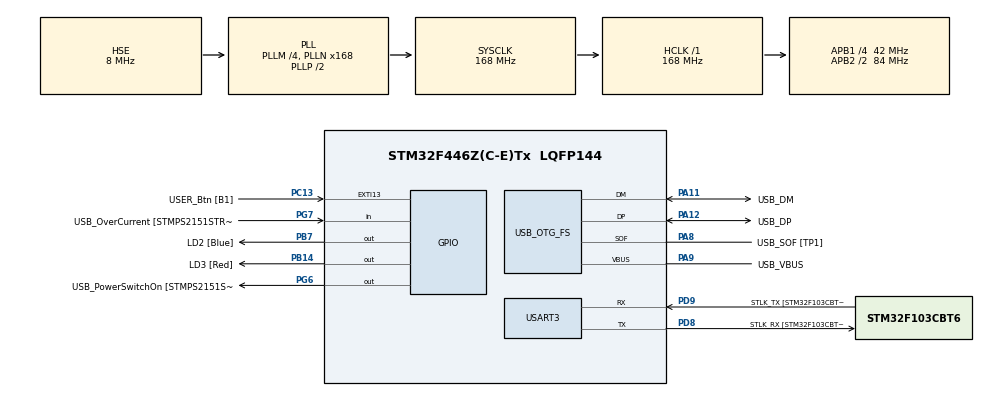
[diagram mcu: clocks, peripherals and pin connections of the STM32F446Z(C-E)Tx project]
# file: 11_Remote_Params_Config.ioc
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FREERTOS.Tasks01=defaultTask,0,128,StartDefaultTask,Default,NULL
Mcu.Family=STM32F4
Mcu.Name=STM32F446Z(C-E)Tx
Mcu.Package=LQFP144
NVIC.PriorityGroup=NVIC_PRIORITYGROUP_4
NVIC.TIM1_UP_TIM10_IRQn=true\:0\:0\:false\:false\:true\:false\:false\:true
NVIC.TimeBase=TIM1_UP_TIM10_IRQn
NVIC.TimeBaseIP=TIM1
PA10.GPIO_Label=USB_ID
PA10.Signal=USB_OTG_FS_ID
PA11.GPIO_Label=USB_DM
PA11.Mode=Device_Only
PA11.Signal=USB_OTG_FS_DM
PA12.GPIO_Label=USB_DP
PA12.Mode=Device_Only
PA12.Signal=USB_OTG_FS_DP
PA13.GPIO_Label=TMS
PA13.Mode=Serial_Wire
PA13.Signal=SYS_JTMS-SWDIO
PA14.GPIO_Label=TCK
PA14.Mode=Serial_Wire
PA14.Signal=SYS_JTCK-SWCLK
PA8.GPIO_Label=USB_SOF [TP1]
PA8.Mode=Activate_SOF_FS
PA8.Signal=USB_OTG_FS_SOF
PA9.GPIO_Label=USB_VBUS
PA9.Mode=Activate_VBUS
PA9.Signal=USB_OTG_FS_VBUS
PB14.GPIO_Label=LD3 [Red]
PB14.Signal=GPIO_Output
PB7.GPIO_Label=LD2 [Blue]
PB7.Signal=GPIO_Output
PC13.GPIO_Label=USER_Btn [B1]
PC13.Signal=GPXTI13
PC14-OSC32_IN.Mode=LSE-External-Oscillator
PC14-OSC32_IN.Signal=RCC_OSC32_IN
PC15-OSC32_OUT.Mode=LSE-External-Oscillator
PC15-OSC32_OUT.Signal=RCC_OSC32_OUT
PD8.GPIO_Label=STLK_RX [STM32F103CBT6_PA3]
PD8.Mode=Asynchronous
PD8.Signal=USART3_TX
PD9.GPIO_Label=STLK_TX [STM32F103CBT6_PA2]
PD9.Mode=Asynchronous
PD9.Signal=USART3_RX
PG6.GPIO_Label=USB_PowerSwitchOn [STMPS2151STR_EN]
PG6.Signal=GPIO_Output
PG7.GPIO_Label=USB_OverCurrent [STMPS2151STR_FAULT]
PG7.Signal=GPIO_Input
PH0-OSC_IN.GPIO_Label=MCO [STM32F103CBT6_PA8]
PH0-OSC_IN.Mode=HSE-External-Clock-Source
PH0-OSC_IN.Signal=RCC_OSC_IN
PH1-OSC_OUT.Mode=HSE-External-Clock-Source
PH1-OSC_OUT.Signal=RCC_OSC_OUT
ProjectManager.HeapSize=0x200
ProjectManager.StackSize=0x400
ProjectManager.TargetToolchain=STM32CubeIDE
RCC.48MHZClocksFreq_Value=24000000
RCC.AHBFreq_Value=168000000
RCC.APB1CLKDivider=RCC_HCLK_DIV4
RCC.APB1Freq_Value=42000000
RCC.APB1TimFreq_Value=84000000
RCC.APB2CLKDivider=RCC_HCLK_DIV2
RCC.APB2Freq_Value=84000000
RCC.APB2TimFreq_Value=168000000
RCC.CortexFreq_Value=168000000
RCC.HCLKFreq_Value=168000000
RCC.HSE_VALUE=8000000
RCC.HSI_VALUE=16000000
RCC.PLLM=4
RCC.PLLMUL=RCC_PLL_MUL9
RCC.PLLN=168
RCC.PLLQ=7
RCC.PRESCALERUSB=RCC_USBCLKSOURCE_PLL_DIV1_5
RCC.SYSCLKFreq_VALUE=168000000
RCC.SYSCLKSource=RCC_SYSCLKSOURCE_PLLCLK
RCC.SYSCLKSourceVirtual=RCC_SYSCLKSOURCE_PLLCLK
RCC.USBFreq_Value=48000000
RCC.VCOOutputFreq_Value=336000000
USART3.VirtualMode=VM_ASYNC
USB_OTG_FS.VirtualMode=Device_Only
VP_FREERTOS_VS_CMSIS_V1.Mode=CMSIS_V1
VP_SYS_VS_tim1.Mode=TIM1
board=NUCLEO-F446ZE

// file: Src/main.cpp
/* USER CODE BEGIN Header */
/**
  ******************************************************************************
  * @file           : main.c
  * @brief          : Main program body
  ******************************************************************************
  * @attention
  *
  * <h2><center>&copy; Copyright (c) 2019 STMicroelectronics.
  * All rights reserved.</center></h2>
  *
  * This software component is licensed by ST under BSD 3-Clause license,
  * the "License"; You may not use this file except in compliance with the
  * License. You may obtain a copy of the License at:
  *                        opensource.org/licenses/BSD-3-Clause
  *
  ******************************************************************************
  */
/* USER CODE END Header */

#include "main.h"
#include "cmsis_os.h"

/* USER CODE BEGIN Includes */
#include <uavcan_stm32/uavcan_stm32.hpp>
#include <uavcan/uavcan.hpp>

#include <uavcan/protocol/param_server.hpp>
/* USER CODE END Includes */

/* USER CODE BEGIN PD */
#define CAN_THRAD_STACK_SIZE 512

#define DEBUG_BUFFER_SIZE    (256)
#define DEBUG_TIMEOUT        (1000)
/* USER CODE END PD */

UART_HandleTypeDef huart3;

PCD_HandleTypeDef hpcd_USB_OTG_FS;

osThreadId defaultTaskHandle;
/* USER CODE BEGIN PV */
uint32_t defaultTaskBuffer[ CAN_THRAD_STACK_SIZE ];
osStaticThreadDef_t defaultTaskControlBlock;

osSemaphoreId DEBUG_TX_completeID;
osSemaphoreDef(DEBUG_TX_complete);
uint8_t DEBUG_TX_Buffer[DEBUG_BUFFER_SIZE] = {0};  //!< Debug buffer.
/* USER CODE END PV */

void SystemClock_Config(void);
static void MX_GPIO_Init(void);
static void MX_USART3_UART_Init(void);
static void MX_USB_OTG_FS_PCD_Init(void);

/* USER CODE BEGIN PFP */
extern "C" {
	void StartDefaultTask(void const * argument);
}

bool DEBUG_Init(void);
void DEBUG_Printf(const char *fmt, ...);
/* USER CODE END PFP */

/* USER CODE BEGIN 0 */
constexpr unsigned NodePoolSize = 8192;
uavcan_stm32::CanInitHelper<> can;

uavcan::Node<NodePoolSize>& getNode() {
    static uavcan::Node<NodePoolSize> node(can.driver, uavcan_stm32::SystemClock::instance());
    return node;
}
/* USER CODE END 0 */

int main(void)
{

  /* MCU Configuration--------------------------------------------------------*/

  /* Reset of all peripherals, Initializes the Flash interface and the Systick. */
  HAL_Init();

  /* Configure the system clock */
  SystemClock_Config();

  /* Initialize all configured peripherals */
  MX_GPIO_Init();
  MX_USART3_UART_Init();
  MX_USB_OTG_FS_PCD_Init();
  /* USER CODE BEGIN 2 */
  GPIO_InitTypeDef GPIO_InitStruct = {0};

  __HAL_RCC_CAN1_CLK_ENABLE();

  __HAL_RCC_GPIOD_CLK_ENABLE();
  /**CAN1 GPIO Configuration
  PD0     ------> CAN1_RX
  PD1     ------> CAN1_TX
  */
  GPIO_InitStruct.Pin = GPIO_PIN_0|GPIO_PIN_1;
  GPIO_InitStruct.Mode = GPIO_MODE_AF_PP;
  GPIO_InitStruct.Pull = GPIO_NOPULL;
  GPIO_InitStruct.Speed = GPIO_SPEED_FREQ_VERY_HIGH;
  GPIO_InitStruct.Alternate = GPIO_AF9_CAN1;
  HAL_GPIO_Init(GPIOD, &GPIO_InitStruct);

  DEBUG_Init();
  /* USER CODE END 2 */

  /* Create the thread(s) */
  /* definition and creation of defaultTask */
  osThreadStaticDef(defaultTask, StartDefaultTask, osPriorityNormal, 0, CAN_THRAD_STACK_SIZE, defaultTaskBuffer, &defaultTaskControlBlock);
  defaultTaskHandle = osThreadCreate(osThread(defaultTask), NULL);

  /* Start scheduler */
  osKernelStart();

  /* We should never get here as control is now taken by the scheduler */

  /* Infinite loop */
  while (1)
  {

  }
}

void SystemClock_Config(void)
{
  RCC_OscInitTypeDef RCC_OscInitStruct = {0};
  RCC_ClkInitTypeDef RCC_ClkInitStruct = {0};
  RCC_PeriphCLKInitTypeDef PeriphClkInitStruct = {0};

  /** Configure the main internal regulator output voltage
  */
  __HAL_RCC_PWR_CLK_ENABLE();
  __HAL_PWR_VOLTAGESCALING_CONFIG(PWR_REGULATOR_VOLTAGE_SCALE1);
  /** Initializes the CPU, AHB and APB busses clocks
  */
  RCC_OscInitStruct.OscillatorType = RCC_OSCILLATORTYPE_HSE;
  RCC_OscInitStruct.HSEState = RCC_HSE_BYPASS;
  RCC_OscInitStruct.PLL.PLLState = RCC_PLL_ON;
  RCC_OscInitStruct.PLL.PLLSource = RCC_PLLSOURCE_HSE;
  RCC_OscInitStruct.PLL.PLLM = 4;
  RCC_OscInitStruct.PLL.PLLN = 168;
  RCC_OscInitStruct.PLL.PLLP = RCC_PLLP_DIV2;
  RCC_OscInitStruct.PLL.PLLQ = 7;
  RCC_OscInitStruct.PLL.PLLR = 2;
  if (HAL_RCC_OscConfig(&RCC_OscInitStruct) != HAL_OK)
  {
    Error_Handler();
  }
  /** Initializes the CPU, AHB and APB busses clocks
  */
  RCC_ClkInitStruct.ClockType = RCC_CLOCKTYPE_HCLK|RCC_CLOCKTYPE_SYSCLK
                              |RCC_CLOCKTYPE_PCLK1|RCC_CLOCKTYPE_PCLK2;
  RCC_ClkInitStruct.SYSCLKSource = RCC_SYSCLKSOURCE_PLLCLK;
  RCC_ClkInitStruct.AHBCLKDivider = RCC_SYSCLK_DIV1;
  RCC_ClkInitStruct.APB1CLKDivider = RCC_HCLK_DIV4;
  RCC_ClkInitStruct.APB2CLKDivider = RCC_HCLK_DIV2;

  if (HAL_RCC_ClockConfig(&RCC_ClkInitStruct, FLASH_LATENCY_5) != HAL_OK)
  {
    Error_Handler();
  }
  PeriphClkInitStruct.PeriphClockSelection = RCC_PERIPHCLK_CLK48;
  PeriphClkInitStruct.Clk48ClockSelection = RCC_CLK48CLKSOURCE_PLLQ;
  if (HAL_RCCEx_PeriphCLKConfig(&PeriphClkInitStruct) != HAL_OK)
  {
    Error_Handler();
  }
}

static void MX_USART3_UART_Init(void)
{

  huart3.Instance = USART3;
  huart3.Init.BaudRate = 115200;
  huart3.Init.WordLength = UART_WORDLENGTH_8B;
  huart3.Init.StopBits = UART_STOPBITS_1;
  huart3.Init.Parity = UART_PARITY_NONE;
  huart3.Init.Mode = UART_MODE_TX_RX;
  huart3.Init.HwFlowCtl = UART_HWCONTROL_NONE;
  huart3.Init.OverSampling = UART_OVERSAMPLING_16;
  if (HAL_UART_Init(&huart3) != HAL_OK)
  {
    Error_Handler();
  }

}

static void MX_USB_OTG_FS_PCD_Init(void)
{

  hpcd_USB_OTG_FS.Instance = USB_OTG_FS;
  hpcd_USB_OTG_FS.Init.dev_endpoints = 6;
  hpcd_USB_OTG_FS.Init.speed = PCD_SPEED_FULL;
  hpcd_USB_OTG_FS.Init.dma_enable = DISABLE;
  hpcd_USB_OTG_FS.Init.phy_itface = PCD_PHY_EMBEDDED;
  hpcd_USB_OTG_FS.Init.Sof_enable = ENABLE;
  hpcd_USB_OTG_FS.Init.low_power_enable = DISABLE;
  hpcd_USB_OTG_FS.Init.lpm_enable = DISABLE;
  hpcd_USB_OTG_FS.Init.vbus_sensing_enable = ENABLE;
  hpcd_USB_OTG_FS.Init.use_dedicated_ep1 = DISABLE;
  if (HAL_PCD_Init(&hpcd_USB_OTG_FS) != HAL_OK)
  {
    Error_Handler();
  }

}

static void MX_GPIO_Init(void)
{
  GPIO_InitTypeDef GPIO_InitStruct = {0};

  /* GPIO Ports Clock Enable */
  __HAL_RCC_GPIOC_CLK_ENABLE();
  __HAL_RCC_GPIOH_CLK_ENABLE();
  __HAL_RCC_GPIOB_CLK_ENABLE();
  __HAL_RCC_GPIOD_CLK_ENABLE();
  __HAL_RCC_GPIOG_CLK_ENABLE();
  __HAL_RCC_GPIOA_CLK_ENABLE();

  /*Configure GPIO pin Output Level */
  HAL_GPIO_WritePin(GPIOB, LD3_Pin|LD2_Pin, GPIO_PIN_RESET);

  /*Configure GPIO pin Output Level */
  HAL_GPIO_WritePin(USB_PowerSwitchOn_GPIO_Port, USB_PowerSwitchOn_Pin, GPIO_PIN_RESET);

  /*Configure GPIO pin : USER_Btn_Pin */
  GPIO_InitStruct.Pin = USER_Btn_Pin;
  GPIO_InitStruct.Mode = GPIO_MODE_IT_RISING;
  GPIO_InitStruct.Pull = GPIO_NOPULL;
  HAL_GPIO_Init(USER_Btn_GPIO_Port, &GPIO_InitStruct);

  /*Configure GPIO pins : LD3_Pin LD2_Pin */
  GPIO_InitStruct.Pin = LD3_Pin|LD2_Pin;
  GPIO_InitStruct.Mode = GPIO_MODE_OUTPUT_PP;
  GPIO_InitStruct.Pull = GPIO_NOPULL;
  GPIO_InitStruct.Speed = GPIO_SPEED_FREQ_LOW;
  HAL_GPIO_Init(GPIOB, &GPIO_InitStruct);

  /*Configure GPIO pin : USB_PowerSwitchOn_Pin */
  GPIO_InitStruct.Pin = USB_PowerSwitchOn_Pin;
  GPIO_InitStruct.Mode = GPIO_MODE_OUTPUT_PP;
  GPIO_InitStruct.Pull = GPIO_NOPULL;
  GPIO_InitStruct.Speed = GPIO_SPEED_FREQ_LOW;
  HAL_GPIO_Init(USB_PowerSwitchOn_GPIO_Port, &GPIO_InitStruct);

  /*Configure GPIO pin : USB_OverCurrent_Pin */
  GPIO_InitStruct.Pin = USB_OverCurrent_Pin;
  GPIO_InitStruct.Mode = GPIO_MODE_INPUT;
  GPIO_InitStruct.Pull = GPIO_NOPULL;
  HAL_GPIO_Init(USB_OverCurrent_GPIO_Port, &GPIO_InitStruct);

}

/* USER CODE BEGIN 4 */
bool DEBUG_Init(void)
{
    if ((DEBUG_TX_completeID = osSemaphoreCreate(osSemaphore(DEBUG_TX_complete), 1)) == NULL)
    {
        return false;
    }
    return true;
}

void DEBUG_Printf(const char *fmt, ...)
{
    uint16_t i = 0;
    va_list args;
    if (osSemaphoreWait(DEBUG_TX_completeID, 1000) == osOK)
    {
        va_start(args, fmt);
        i = vsnprintf((char*) DEBUG_TX_Buffer, DEBUG_BUFFER_SIZE - 1, fmt, args);
        DEBUG_TX_Buffer[i] = 0x00;

        uint16_t retry = 4096;

        while ((retry--)&&(HAL_UART_Transmit(&huart3, &DEBUG_TX_Buffer[0], strlen((char*)&DEBUG_TX_Buffer[0]), 0xFFF) != HAL_OK));

        va_end(args);
        osSemaphoreRelease(DEBUG_TX_completeID);
    }
    return;
}
/* USER CODE END 4 */

void StartDefaultTask(void const * argument)
{

  /* USER CODE BEGIN 5 */
	uint32_t value = 1000000;

	can.init(value);

	getNode().setName("org.test.RemoteParamsConfig");
	getNode().setNodeID(5);

	if (getNode().start() < 0) {
		DEBUG_Printf("UAVCAN start fail\r\n");
	    while (1);
	}

    /*
     * This would be our configuration storage.
     */
    static struct Parametrai
    {
        unsigned param1 = 42;
        float param2 = 0.123456F;
        double param3 = 1e-5;
        std::string text = "Hello world!";
    } configuration;

    /*
     * Now, we need to define some glue logic between the server (below) and our configuration storage (above).
     * This is done via the interface uavcan::IParamManager.
     */
    class : public uavcan::IParamManager
    {
    	void getParamNameByIndex(Index index, Name& out_name) const override {
    		if (index == 0) { out_name = "param1"; }
            if (index == 1) { out_name = "param2"; }
            if (index == 2) { out_name = "param3"; }
            if (index == 3) { out_name = "text"; }
        }

    	void assignParamValue(const Name& name, const Value& value) override {
    		if (name == "param1") {
    			/*
    			 * Parameter "foo" is an integer, so we accept only integer values here.
    			 */
    			if (value.is(uavcan::protocol::param::Value::Tag::integer_value))
    				configuration.param1 = *value.as<uavcan::protocol::param::Value::Tag::integer_value>();
    		} else if (name == "param2") {
    			if (value.is(uavcan::protocol::param::Value::Tag::real_value))
    				configuration.param2 = *value.as<uavcan::protocol::param::Value::Tag::real_value>();
    		} else if (name == "param3") {
    			if (value.is(uavcan::protocol::param::Value::Tag::real_value))
    				configuration.param3 = *value.as<uavcan::protocol::param::Value::Tag::real_value>();
    		} else if (name == "text") {
    			if (value.is(uavcan::protocol::param::Value::Tag::string_value))
    				configuration.text = value.as<uavcan::protocol::param::Value::Tag::string_value>()->c_str();
    		} else
    			DEBUG_Printf("Can't assign parameter. Check if type is correct\r\n");
    	}

    	void readParamValue(const Name& name, Value& out_value) const override {
    		if (name == "param1")
    			out_value.to<uavcan::protocol::param::Value::Tag::integer_value>() = configuration.param1;
    		else if (name == "param2")
    			out_value.to<uavcan::protocol::param::Value::Tag::real_value>() = configuration.param2;
    		else if (name == "param3")
    			out_value.to<uavcan::protocol::param::Value::Tag::real_value>() = configuration.param3;
    		else if (name == "text")
    			out_value.to<uavcan::protocol::param::Value::Tag::string_value>() = configuration.text.c_str();
    		else
    			DEBUG_Printf("Can't read parameter. Check if type is correct\r\n");
    	}

    	int saveAllParams() override {
    		DEBUG_Printf("Save - this implementation does not require any action\r\n");
    		return 0;     // Zero means that everything is fine.
    	}

    	int eraseAllParams() override {
    		DEBUG_Printf("Erase - all params reset to default values\r\n");
    		configuration = Parametrai();
    		return 0;
    	}

    	/**
    	 * Note that this method is optional. It can be left unimplemented.
    	 */
    	void readParamDefaultMaxMin(const Name& name, Value& out_def, NumericValue& out_max, NumericValue& out_min) const override {
    		if (name == "param1") {
    			out_def.to<uavcan::protocol::param::Value::Tag::integer_value>() = Parametrai().param1;
    			out_max.to<uavcan::protocol::param::NumericValue::Tag::integer_value>() = 9000;
    			out_min.to<uavcan::protocol::param::NumericValue::Tag::integer_value>() = 0;
    		} else if (name == "param2") {
    			out_def.to<uavcan::protocol::param::Value::Tag::real_value>() = Parametrai().param2;
    			out_max.to<uavcan::protocol::param::NumericValue::Tag::real_value>() = 1;
    			out_min.to<uavcan::protocol::param::NumericValue::Tag::real_value>() = 0;
    		} else if (name == "param3") {
    			out_def.to<uavcan::protocol::param::Value::Tag::real_value>() = Parametrai().param3;
    			out_max.to<uavcan::protocol::param::NumericValue::Tag::real_value>() = 1;
    			out_min.to<uavcan::protocol::param::NumericValue::Tag::real_value>() = 0;
    		} else if (name == "text") {
    			out_def.to<uavcan::protocol::param::Value::Tag::string_value>() = Parametrai().text.c_str();
    			DEBUG_Printf("Limits for 'text' are not defined\r\n");
    		} else
    			DEBUG_Printf("Can't read the limits for parameter\r\n");
    	}
    } param_manager;

    /*
     * Initializing the configuration server.
     * A pointer to the glue logic object is passed to the method start().
     */
    uavcan::ParamServer server(getNode());

    const int server_start_res = server.start(&param_manager);
    if (server_start_res < 0)
    {
    	DEBUG_Printf("Failed to start ParamServer\r\n");
    }

    /*
     * Many embedded applications require a restart before the new configuration settings can
     * be applied, so it is highly recommended to also support the remote restart service.
     */
    class : public uavcan::IRestartRequestHandler {
    	bool handleRestartRequest(uavcan::NodeID request_source) override {
    		DEBUG_Printf("Got a remote restart request from %d\r\n", int(request_source.get()));
                /*
                 * We won't really restart, so return 'false'.
                 * Returning 'true' would mean that we're going to restart for real.
                 * Note that it is recognized that some nodes may not be able to respond to the
                 * restart request (e.g. if they restart immediately from the service callback).
                 */
    		return true;
    	}
    } restart_request_handler;

    /*
     * Installing the restart request handler.
     */
    getNode().setRestartRequestHandler(&restart_request_handler); // Done.

	getNode().setModeOperational();

  /* Infinite loop */
  for(;;)
  {
	    const int res = getNode().spin(uavcan::MonotonicDuration::fromMSec(500));
	    if (res < 0) {
	    	DEBUG_Printf("UAVCAN spin fail\r\n");
	    	while(1);
	    }  }
  /* USER CODE END 5 */
}

void HAL_TIM_PeriodElapsedCallback(TIM_HandleTypeDef *htim)
{
  if (htim->Instance == TIM1) {
    HAL_IncTick();
  }
}

void Error_Handler(void)
{
}

/************************ (C) COPYRIGHT STMicroelectronics *****END OF FILE****/
